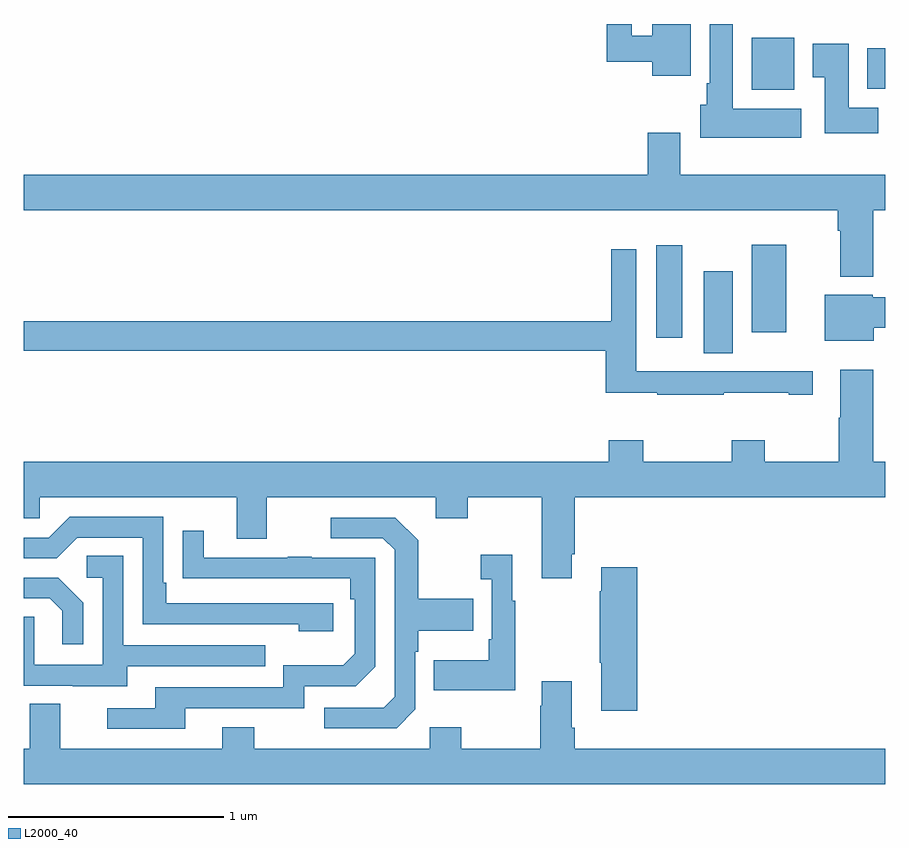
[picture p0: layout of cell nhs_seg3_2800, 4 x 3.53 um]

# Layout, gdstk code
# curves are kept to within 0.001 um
import gdstk
lib = gdstk.Library(unit=1e-6, precision=1e-09)
def R(c, l, rs):  # rectangles x0, y0, x1, y1
    for r in rs: c.add(gdstk.rectangle(r[:2], r[2:], *l))
def P(c, l, *ps):  # polygons
    for p in ps: c.add(gdstk.Polygon(p, *l))
L2000_40 = (2000, 40)

nhs_seg3_2800 = lib.new_cell('nhs_seg3_2800')
R(nhs_seg3_2800, L2000_40, [(258.158,746.872,258.292,747.253), (257.936,746.943,258.058,747.373), (258.38,746.97,258.541,747.376), (258.38,748.094,258.577,748.336), (258.917,748.1,259,748.288)])
P(nhs_seg3_2800, L2000_40, [(258.097,748.4),(257.918,748.4),(257.918,748.345),(257.823,748.345),(257.823,748.4),(257.707,748.4),(257.707,748.224),(257.918,748.224),(257.918,748.16),(258.097,748.16)],
  [(258.61,748.006),(258.292,748.006),(258.292,748.4),(258.185,748.4),(258.185,748.126),(258.17,748.126),(258.17,748.026),(258.14,748.026),(258.14,747.872),(258.61,747.872)],
  [(258.968,748.012),(258.829,748.012),(258.829,748.309),(258.662,748.309),(258.662,748.153),(258.719,748.153),(258.719,747.894),(258.968,747.894)],
  [(258.944,747.536),(259,747.536),(259,747.7),(258.049,747.7),(258.049,747.895),(257.897,747.895),(257.897,747.7),(255,747.7),(255,747.536),(258.779,747.536),(258.779,747.44),(258.791,747.44),(258.791,747.227),(258.944,747.227)],
  [(258.251,746.689),(258.551,746.689),(258.551,746.679),(258.664,746.679),(258.664,746.789),(258.388,746.789),(258.388,746.787),(258.054,746.787),(258.054,746.788),(257.844,746.788),(257.844,747.355),(257.728,747.355),(257.728,747.02),(255,747.02),(255,746.884),(257.702,746.884),(257.702,746.689),(257.941,746.689),(257.941,746.679),(258.251,746.679)],
  [(258.946,746.99),(259,746.99),(259,747.132),(258.942,747.132),(258.942,747.142),(258.719,747.142),(258.719,746.93),(258.946,746.93)],
  [(257.545,745.939),(257.558,745.939),(257.558,746.204),(259,746.204),(259,746.368),(258.944,746.368),(258.944,746.794),(258.791,746.794),(258.791,746.573),(258.784,746.573),(258.784,746.368),(258.441,746.368),(258.441,746.467),(258.286,746.467),(258.286,746.368),(257.877,746.368),(257.877,746.467),(257.717,746.467),(257.717,746.368),(255,746.368),(255,746.106),(255.075,746.106),(255.075,746.204),(255.989,746.204),(255.989,746.01),(256.129,746.01),(256.129,746.204),(256.913,746.204),(256.913,746.105),(257.061,746.105),(257.061,746.204),(257.405,746.204),(257.405,745.827),(257.545,745.827)],
  [(256.438,745.71),(255.661,745.71),(255.661,745.807),(255.648,745.807),(255.648,746.112),(255.213,746.112),(255.117,746.016),(255,746.016),(255,745.92),(255.153,745.92),(255.249,746.016),(255.552,746.016),(255.552,745.614),(256.277,745.614),(256.277,745.58),(256.438,745.58)],
  [(256.818,745.218),(256.818,745.487),(256.831,745.487),(256.831,745.583),(257.087,745.583),(257.087,745.731),(256.831,745.731),(256.831,746.003),(256.725,746.109),(256.425,746.109),(256.425,746.013),(256.668,746.013),(256.722,745.959),(256.722,745.278),(256.671,745.227),(256.395,745.227),(256.395,745.131),(256.731,745.131)],
  [(255.751,745.224),(256.302,745.224),(256.302,745.326),(256.542,745.326),(256.632,745.416),(256.632,745.923),(256.337,745.923),(256.337,745.928),(256.225,745.928),(256.225,745.923),(255.835,745.923),(255.835,746.047),(255.739,746.047),(255.739,745.828),(256.516,745.827),(256.516,745.73),(256.536,745.73),(256.536,745.476),(256.483,745.423),(256.206,745.423),(256.206,745.32),(255.611,745.32),(255.611,745.224),(255.387,745.224),(255.387,745.128),(255.751,745.128)],
  [(257.281,745.723),(257.269,745.723),(257.269,745.936),(257.121,745.936),(257.121,745.823),(257.172,745.823),(257.172,745.543),(257.16,745.543),(257.16,745.447),(256.903,745.447),(256.903,745.307),(257.281,745.307)],
  [(255.481,745.419),(256.121,745.419),(256.121,745.515),(255.462,745.515),(255.462,745.931),(255.294,745.931),(255.294,745.83),(255.366,745.83),(255.366,745.425),(255.048,745.425),(255.048,745.649),(255,745.649),(255,745.329),(255.227,745.329),(255.227,745.325),(255.481,745.325)],
  [(257.849,745.879),(257.681,745.879),(257.681,745.766),(257.674,745.766),(257.674,745.435),(257.681,745.435),(257.681,745.212),(257.849,745.212)],
  [(255.276,745.714),(255.16,745.83),(255,745.83),(255,745.734),(255.122,745.734),(255.179,745.677),(255.179,745.521),(255.276,745.521)],
  [(259,745.036),(257.558,745.036),(257.558,745.132),(257.545,745.132),(257.545,745.348),(257.405,745.348),(257.405,745.235),(257.398,745.235),(257.398,745.036),(257.031,745.036),(257.031,745.135),(256.884,745.135),(256.884,745.036),(256.071,745.036),(256.071,745.135),(255.923,745.135),(255.923,745.036),(255.169,745.036),(255.169,745.244),(255.029,745.244),(255.029,745.036),(255,745.036),(255,744.872),(259,744.872)])

lib.write_gds('nhs_seg3_2800.gds')
